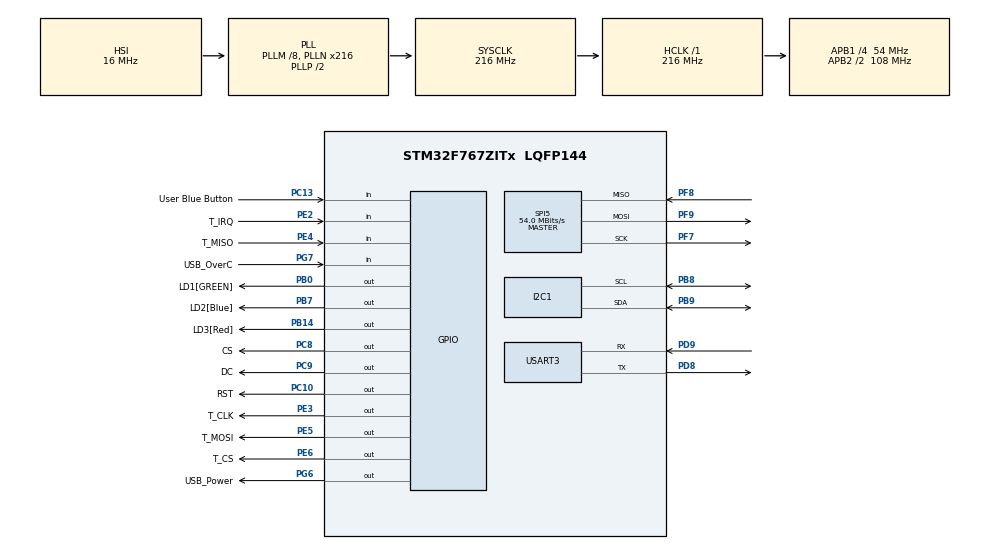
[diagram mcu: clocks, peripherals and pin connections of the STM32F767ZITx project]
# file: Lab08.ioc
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CORTEX_M7.ART_ACCELERATOR_ENABLE=1
CORTEX_M7.CPU_DCache=Enabled
CORTEX_M7.CPU_ICache=Enabled
CORTEX_M7.MPU_Control=__NULL
CORTEX_M7.PREFETCH_ENABLE=1
CORTEX_M7.default_mode_Activation=1
I2C1.Timing=0x20404768
Mcu.Family=STM32F7
Mcu.Name=STM32F767ZITx
Mcu.Package=LQFP144
NVIC.PriorityGroup=NVIC_PRIORITYGROUP_4
PB0.GPIO_Label=LD1[GREEN]
PB0.Signal=GPIO_Output
PB14.GPIO_Label=LD3[Red]
PB14.Signal=GPIO_Output
PB7.GPIO_Label=LD2[Blue]
PB7.Signal=GPIO_Output
PB8.Mode=I2C
PB8.Signal=I2C1_SCL
PB9.Mode=I2C
PB9.Signal=I2C1_SDA
PC10.GPIO_Label=RST
PC10.GPIO_Speed=GPIO_SPEED_FREQ_VERY_HIGH
PC10.Signal=GPIO_Output
PC13.GPIO_Label=User Blue Button
PC13.Signal=GPIO_Input
PC8.GPIO_Label=CS
PC8.GPIO_Speed=GPIO_SPEED_FREQ_VERY_HIGH
PC8.Signal=GPIO_Output
PC9.GPIO_Label=DC
PC9.GPIO_Speed=GPIO_SPEED_FREQ_VERY_HIGH
PC9.Signal=GPIO_Output
PD8.Mode=Asynchronous
PD8.Signal=USART3_TX
PD9.Mode=Asynchronous
PD9.Signal=USART3_RX
PE2.GPIO_Label=T_IRQ
PE2.Signal=GPIO_Input
PE3.GPIO_Label=T_CLK
PE3.GPIO_Speed=GPIO_SPEED_FREQ_VERY_HIGH
PE3.Signal=GPIO_Output
PE4.GPIO_Label=T_MISO
PE4.Signal=GPIO_Input
PE5.GPIO_Label=T_MOSI
PE5.GPIO_Speed=GPIO_SPEED_FREQ_VERY_HIGH
PE5.Signal=GPIO_Output
PE6.GPIO_Label=T_CS
PE6.GPIO_Speed=GPIO_SPEED_FREQ_VERY_HIGH
PE6.Signal=GPIO_Output
PF7.Mode=Full_Duplex_Master
PF7.Signal=SPI5_SCK
PF8.Mode=Full_Duplex_Master
PF8.Signal=SPI5_MISO
PF9.Mode=Full_Duplex_Master
PF9.Signal=SPI5_MOSI
PG6.GPIO_Label=USB_Power
PG6.GPIO_Speed=GPIO_SPEED_FREQ_LOW
PG6.Signal=GPIO_Output
PG7.GPIO_Label=USB_OverC
PG7.Signal=GPIO_Input
ProjectManager.HeapSize=0x200
ProjectManager.StackSize=0x400
ProjectManager.TargetToolchain=STM32CubeIDE
RCC.AHBFreq_Value=216000000
RCC.APB1CLKDivider=RCC_HCLK_DIV4
RCC.APB1Freq_Value=54000000
RCC.APB1TimFreq_Value=108000000
RCC.APB2CLKDivider=RCC_HCLK_DIV2
RCC.APB2Freq_Value=108000000
RCC.APB2TimFreq_Value=216000000
RCC.CortexFreq_Value=216000000
RCC.HCLKFreq_Value=216000000
RCC.HSE_VALUE=25000000
RCC.HSI_VALUE=16000000
RCC.LSE_VALUE=32768
RCC.PLLM=8
RCC.PLLN=216
RCC.PLLQ=9
RCC.SYSCLKFreq_VALUE=216000000
RCC.SYSCLKSource=RCC_SYSCLKSOURCE_PLLCLK
RCC.USBFreq_Value=48000000
RCC.VCOOutputFreq_Value=432000000
SPI5.CalculateBaudRate=54.0 MBits/s
SPI5.DataSize=SPI_DATASIZE_8BIT
SPI5.Direction=SPI_DIRECTION_2LINES
SPI5.Mode=SPI_MODE_MASTER
SPI5.NSSPMode=SPI_NSS_PULSE_DISABLE
SPI5.VirtualType=VM_MASTER
TIM1.ClockDivision=TIM_CLOCKDIVISION_DIV2
TIM1.Period=0
TIM1.Prescaler=10000
USART3.VirtualMode-Asynchronous=VM_ASYNC
VP_RNG_VS_RNG.Mode=RNG_Activate
VP_TIM1_VS_ClockSourceINT.Mode=Internal
board=custom

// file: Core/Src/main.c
/* USER CODE BEGIN Header */
/**
  ******************************************************************************
  * @file           : main.c
  * @brief          : Main program body
  ******************************************************************************
  * @attention
  *
  * Copyright (c) 2025 STMicroelectronics.
  * All rights reserved.
  *
  * This software is licensed under terms that can be found in the LICENSE file
  * in the root directory of this software component.
  * If no LICENSE file comes with this software, it is provided AS-IS.
  *
  ******************************************************************************
  */
/* USER CODE END Header */
#include "main.h"
#include "i2c.h"
#include "rng.h"
#include "spi.h"
#include "tim.h"
#include "usart.h"
#include "gpio.h"

/* USER CODE BEGIN Includes */
#include "ILI9341/ILI9341_Touchscreen.h"

#include "ILI9341/ILI9341_STM32_Driver.h"
#include "ILI9341/ILI9341_GFX.h"

#include "ILI9341/snow_tiger.h"

#include "stdio.h"
#include "string.h"

#include "stm32f7xx_hal.h"

/* USER CODE END Includes */

/* USER CODE BEGIN PD */
#define CUSTOM_LIGHT_RED 0xfe79
#define CUSTOM_LIGHT_GREEN 0xe7fb
#define CUSTOM_LIGHT_BLUE 0xdedf

#define CUSTOM_YELLOW 0xfff9
#define CUSTOM_ORANGE 0xf966
#define CUSTOM_BLUE 0x331f
#define CUSTOM_PURPLE 0xb47f
#define CUSTOM_PINK 0xfcdb
#define SCREEN_W 240
#define SCREEN_H 320

/* USER CODE END PD */

/* USER CODE BEGIN PV */
  float temp = 40.0;
  float humid = 30.0;
  uint8_t step = 0;

  float red = 0.8;
  float green = 0.4;
  float blue = 0.7;

//  render var
  char temp_str[6];
  char humid_str[10];

  char red_str[5];
  char green_str[5];
  char blue_str[5];

  uint8_t gap = 6;

  uint8_t button_r = 22;
  uint8_t button_y = 30;
  uint8_t bar_w = 140;
  uint8_t bar_h = 30;

  uint8_t red_pos;
  uint8_t green_pos;
  uint8_t blue_pos;
  uint8_t x_bar_pos;
  uint8_t offset;

  uint32_t lastTempTime = 0;
  uint32_t lastButtonTime = 0;
  /* USER CODE END PV */

void SystemClock_Config(void);
/* USER CODE BEGIN PFP */

void init_positions(void) {
    red_pos   = 110;
    green_pos = red_pos + button_r*2 + gap;
    blue_pos  = green_pos + button_r*2 + gap;
    x_bar_pos = button_y + button_r + gap;
    offset    = bar_h/2;
}

uint16_t CRC16_2(uint8_t *ptr, uint8_t length){
	uint16_t crc = 0xFFFF;
	uint8_t s = 0x00;

	while (length--) {
		crc ^= *ptr++;
		for(s = 0; s < 8; s++) {
			if((crc & 0x01) != 0) {
				crc >>= 1;
				crc ^= 0xA001;
			} else crc >>= 1;
		}
	}
	return crc;
}

uint16_t RGB_to_HEX(float r, float g, float b)
{
    uint16_t red   = (uint16_t)(r * 31) & 0x1F;   // 5 bits
    uint16_t green = (uint16_t)(g * 63) & 0x3F;   // 6 bits
    uint16_t blue  = (uint16_t)(b * 31) & 0x1F;   // 5 bits

    return (red << 11) | (green << 5) | blue;
}

void update_color(float *color)
{
	if(*color >= 1.0){
		*color = 0;
	}
	else{
		*color += 0.1;
	}
}

void render_screen()
{
	ILI9341_Draw_Text(temp_str, 20, 35, BLACK, 2, WHITE);
	ILI9341_Draw_Text(humid_str, 170, 35, BLACK, 2, WHITE);

	ILI9341_Draw_Filled_Circle(130, 50, 25, RGB_to_HEX(red, green, blue));

	ILI9341_Draw_Filled_Circle(button_y, red_pos, button_r, RED);
	ILI9341_Draw_Filled_Circle(button_y, green_pos, button_r, GREEN);
	ILI9341_Draw_Filled_Circle(button_y, blue_pos, button_r, BLUE);

	ILI9341_Draw_Rectangle(x_bar_pos, red_pos - offset, bar_w, bar_h, CUSTOM_LIGHT_RED);
	ILI9341_Draw_Rectangle(x_bar_pos, green_pos - offset, bar_w, bar_h, CUSTOM_LIGHT_GREEN);
	ILI9341_Draw_Rectangle(x_bar_pos, blue_pos - offset, bar_w, bar_h, CUSTOM_LIGHT_BLUE);

	ILI9341_Draw_Rectangle(x_bar_pos, red_pos - offset, bar_w * red, bar_h, RED);
	ILI9341_Draw_Rectangle(x_bar_pos, green_pos - offset , bar_w * green, bar_h, GREEN);
	ILI9341_Draw_Rectangle(x_bar_pos, blue_pos - offset, bar_w * blue, bar_h, BLUE);

	ILI9341_Draw_Text(red_str, x_bar_pos + bar_w + 10, red_pos - 7, BLACK, 2, WHITE);
	ILI9341_Draw_Text(green_str,  x_bar_pos + bar_w + 10, green_pos - 7, BLACK, 2, WHITE);
	ILI9341_Draw_Text(blue_str,  x_bar_pos + bar_w + 10, blue_pos - 7, BLACK, 2, WHITE);
}

/* USER CODE END PFP */

int main(void)
{

  /* USER CODE BEGIN 1 */
  uint8_t cmdBuffer[3] = {0x03, 0x00, 0x04};
  uint8_t dataBuffer[8];
  /* USER CODE END 1 */

  /* Enable the CPU Cache */

  /* Enable I-Cache---------------------------------------------------------*/
  SCB_EnableICache();

  /* Enable D-Cache---------------------------------------------------------*/
  SCB_EnableDCache();

  /* MCU Configuration--------------------------------------------------------*/

  /* Reset of all peripherals, Initializes the Flash interface and the Systick. */
  HAL_Init();

  /* Configure the system clock */
  SystemClock_Config();

  /* Initialize all configured peripherals */
  MX_GPIO_Init();
  MX_RNG_Init();
  MX_SPI5_Init();
  MX_TIM1_Init();
  MX_I2C1_Init();
  MX_USART3_UART_Init();
  /* USER CODE BEGIN 2 */
  ILI9341_Init();
  init_positions();
  /* USER CODE END 2 */

  /* Infinite loop */
  /* USER CODE BEGIN WHILE */

  uint8_t gap = 6;

  uint8_t button_r = 22;
  uint8_t button_y = 30;
  uint8_t bar_w = 140;
  uint8_t bar_h = 30;

  uint8_t red_pos = 110;
  uint8_t green_pos = red_pos + button_r*2 + gap;
  uint8_t blue_pos = green_pos + button_r*2 + gap;

  uint8_t x_bar_pos = button_y + button_r + gap;

  uint8_t offset = bar_h/2;

  uint32_t lastTempTime = 0;
  uint32_t lastButtonTime = 0;

  ILI9341_Fill_Screen(WHITE);
  ILI9341_Set_Rotation(SCREEN_HORIZONTAL_2);

	sprintf(temp_str, "%.1f C", temp);
	sprintf(humid_str, "%.1f %%RH", humid);

sprintf(red_str, "%3u%%", (uint8_t)(red * 100));
sprintf(green_str, "%3u%%", (uint8_t)(green * 100));
sprintf(blue_str, "%3u%%", (uint8_t)(blue * 100));

  render_screen();

  while (1)
  {
    /* USER CODE END WHILE */

    /* USER CODE BEGIN 3 */
    uint32_t now = HAL_GetTick();

//	Sensor
    if (now - lastTempTime > 5000) {
    	HAL_I2C_Master_Transmit(&hi2c1, 0x5C << 1, NULL, 0, 1000);
//		HAL_Delay(2);
		HAL_I2C_Master_Transmit(&hi2c1, 0x5C<<1, cmdBuffer, 3, 1000);
		HAL_Delay(1);

		HAL_I2C_Master_Receive(&hi2c1, 0x5C<<1, dataBuffer, 8, 1000);

		for (int i = 0; i < 8; i++) {
			char buf[20];
			sprintf(buf, "B[%d]=%02X\r\n", i, dataBuffer[i]);
			HAL_UART_Transmit(&huart3, (uint8_t*)buf, strlen(buf), 100);
		}

//		// ฟังก์ชันการคำนวณ CRC8
//		uint8_t CRC8(uint8_t *data, uint8_t length) {
//		    uint8_t crc = 0xFF;  // เริ่มต้น CRC เป็น 0xFF
//		    for (uint8_t i = 0; i < length; i++) {
//		        crc ^= data[i];  // XOR กับข้อมูลที่ส่ง
//		        for (uint8_t bit = 8; bit > 0; bit--) {  // ทำการวนลูป 8 บิต
//		            if (crc & 0x80) {  // ถ้าบิตที่สูงสุดเป็น 1
//		                crc = (crc << 1) ^ 0x31;  // เลื่อนบิตและ XOR กับ polynomial
//		            } else {
//		                crc <<= 1;  // เลื่อนบิตไปซ้าย
//		            }
//		        }
//		    }
//		    return crc;  // คืนค่า CRC ที่คำนวณได้
//		}
//
//		// คำนวณ CRC8 จากข้อมูลที่ได้รับ (7 ไบต์แรก)
//		uint8_t calculatedCRC = CRC8(dataBuffer, 7);  // คำนวณจาก 7 ไบต์แรก (ไม่รวม checksum)
//
//		// แสดงผล CRC8 ที่คำนวณได้
//		char buf[20];
//		sprintf(buf, "Calculated CRC = %02X\r\n", calculatedCRC);
//		HAL_UART_Transmit(&huart3, (uint8_t*)buf, strlen(buf), 100);

		uint16_t Rcrc = (dataBuffer[6] & 0xFF) | (dataBuffer[7] << 8);

		uint16_t crc16 = CRC16_2(dataBuffer, 6);

		if (Rcrc != crc16) continue;
		uint16_t temperature = ((dataBuffer[4] & 0x7F) << 8) + dataBuffer[5];
		temp = temperature / 10.0;
		if (dataBuffer[4] & 0x80) temp = -temp;

		uint16_t humidity = (dataBuffer[2] << 8) + dataBuffer[3];
		humid = humidity / 10.0;

		sprintf(temp_str, "%.1f C", temp);
		sprintf(humid_str, "%.1f %%RH", humid);

		render_screen();

		lastTempTime = now;
	}

// touch pad
    if (now - lastButtonTime >= 50) {
		if(TP_Touchpad_Pressed()){
			uint16_t x_pos = 0;
			uint16_t y_pos = 0;

			uint16_t position_array[2];

			if(TP_Read_Coordinates(position_array) == TOUCHPAD_DATA_OK)
			{
				x_pos = position_array[0];
				y_pos = position_array[1];
				uint8_t message;

				if (y_pos >= ILI9341_SCREEN_HEIGHT - button_y - button_r && y_pos <= ILI9341_SCREEN_HEIGHT - button_y + button_r){
					if ((x_pos >= red_pos - button_r) &&(x_pos <= red_pos + button_r)) {
						update_color(&red);
						HAL_GPIO_WritePin(GPIOB, LD3_Pin, GPIO_PIN_SET);
					}
					else if ((x_pos >= green_pos - button_r) &&(x_pos <= green_pos + button_r)) {
						update_color(&green);
						HAL_GPIO_WritePin(GPIOB, LD1_Pin, GPIO_PIN_SET);
					}
					else if ((x_pos >= blue_pos - button_r) &&(x_pos <= blue_pos + button_r)) {
						update_color(&blue);
						HAL_GPIO_WritePin(GPIOB, LD2_Pin, GPIO_PIN_SET);
					}
				}

				sprintf(red_str, "%3u%%", (uint8_t)(red * 100));
				sprintf(green_str, "%3u%%", (uint8_t)(green * 100));
				sprintf(blue_str, "%3u%%", (uint8_t)(blue * 100));

				render_screen();

				HAL_Delay(200);

			}
			HAL_GPIO_WritePin(GPIOB, LD3_Pin | LD2_Pin | LD1_Pin, GPIO_PIN_RESET);
		}
		lastButtonTime = now;
	}
  }  /* USER CODE END 3 */
}

void SystemClock_Config(void)
{
  RCC_OscInitTypeDef RCC_OscInitStruct = {0};
  RCC_ClkInitTypeDef RCC_ClkInitStruct = {0};

  /** Configure the main internal regulator output voltage
  */
  __HAL_RCC_PWR_CLK_ENABLE();
  __HAL_PWR_VOLTAGESCALING_CONFIG(PWR_REGULATOR_VOLTAGE_SCALE1);

  /** Initializes the RCC Oscillators according to the specified parameters
  * in the RCC_OscInitTypeDef structure.
  */
  RCC_OscInitStruct.OscillatorType = RCC_OSCILLATORTYPE_HSI;
  RCC_OscInitStruct.HSIState = RCC_HSI_ON;
  RCC_OscInitStruct.HSICalibrationValue = RCC_HSICALIBRATION_DEFAULT;
  RCC_OscInitStruct.PLL.PLLState = RCC_PLL_ON;
  RCC_OscInitStruct.PLL.PLLSource = RCC_PLLSOURCE_HSI;
  RCC_OscInitStruct.PLL.PLLM = 8;
  RCC_OscInitStruct.PLL.PLLN = 216;
  RCC_OscInitStruct.PLL.PLLP = RCC_PLLP_DIV2;
  RCC_OscInitStruct.PLL.PLLQ = 9;
  RCC_OscInitStruct.PLL.PLLR = 2;
  if (HAL_RCC_OscConfig(&RCC_OscInitStruct) != HAL_OK)
  {
    Error_Handler();
  }

  /** Activate the Over-Drive mode
  */
  if (HAL_PWREx_EnableOverDrive() != HAL_OK)
  {
    Error_Handler();
  }

  /** Initializes the CPU, AHB and APB buses clocks
  */
  RCC_ClkInitStruct.ClockType = RCC_CLOCKTYPE_HCLK|RCC_CLOCKTYPE_SYSCLK
                              |RCC_CLOCKTYPE_PCLK1|RCC_CLOCKTYPE_PCLK2;
  RCC_ClkInitStruct.SYSCLKSource = RCC_SYSCLKSOURCE_PLLCLK;
  RCC_ClkInitStruct.AHBCLKDivider = RCC_SYSCLK_DIV1;
  RCC_ClkInitStruct.APB1CLKDivider = RCC_HCLK_DIV4;
  RCC_ClkInitStruct.APB2CLKDivider = RCC_HCLK_DIV2;

  if (HAL_RCC_ClockConfig(&RCC_ClkInitStruct, FLASH_LATENCY_7) != HAL_OK)
  {
    Error_Handler();
  }
}

void Error_Handler(void)
{
  __disable_irq();
  while (1)
  {
  }
}
